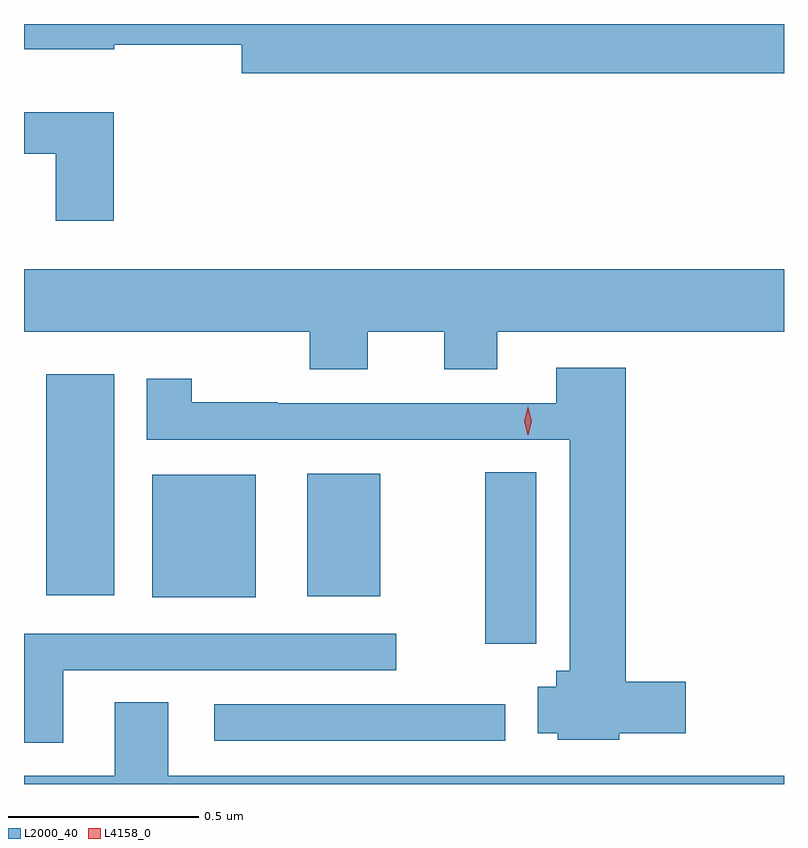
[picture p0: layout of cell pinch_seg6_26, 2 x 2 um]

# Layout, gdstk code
import gdstk
lib = gdstk.Library(unit=1e-6, precision=1e-09)
def R(c, l, rs):  # rectangles x0, y0, x1, y1
    for r in rs: c.add(gdstk.rectangle(r[:2], r[2:], *l))
def P(c, l, *ps):  # polygons
    for p in ps: c.add(gdstk.Polygon(p, *l))
L2000_40 = (2000, 40)
L4158_0 = (4158, 0)

pinch_seg6_26 = lib.new_cell('pinch_seg6_26')
R(pinch_seg6_26, L2000_40, [(965.835,974.232,966.601,974.328), (966.548,974.487,966.682,974.939), (965.672,974.609,965.944,974.932), (966.08,974.612,966.271,974.935), (965.393,974.615,965.572,975.196)])
P(pinch_seg6_26, L2000_40, [(967.334,976.118),(965.334,976.118),(965.334,976.052),(965.572,976.052),(965.572,976.063),(965.907,976.063),(965.907,975.988),(967.334,975.988)],
  [(965.57,975.886),(965.334,975.886),(965.334,975.777),(965.417,975.777),(965.417,975.6),(965.57,975.6)],
  [(966.238,975.308),(966.44,975.308),(966.44,975.209),(966.58,975.209),(966.58,975.308),(967.334,975.308),(967.334,975.472),(965.334,975.472),(965.334,975.308),(966.086,975.308),(966.086,975.209),(966.238,975.209)],
  [(966.9,974.252),(967.075,974.252),(967.075,974.387),(966.917,974.387),(966.917,975.214),(966.734,975.214),(966.734,975.12),(966.002,975.12),(966.002,975.122),(965.775,975.122),(965.775,975.184),(965.657,975.184),(965.657,975.024),(966.77,975.024),(966.77,974.416),(966.734,974.416),(966.734,974.374),(966.686,974.374),(966.686,974.252),(966.738,974.252),(966.738,974.234),(966.9,974.234)],
  [(965.437,974.418),(966.313,974.418),(966.313,974.514),(965.334,974.514),(965.334,974.226),(965.437,974.226)],
  [(967.334,974.14),(965.713,974.14),(965.713,974.333),(965.573,974.333),(965.573,974.14),(965.334,974.14),(965.334,974.118),(967.334,974.118)])
P(pinch_seg6_26, L4158_0, [(966.66,975.037),(966.66,975.037),(966.65,975.073),(966.66,975.109),(966.66,975.109),(966.661,975.109),(966.67,975.073),(966.661,975.037)])

lib.write_gds('pinch_seg6_26.gds')
